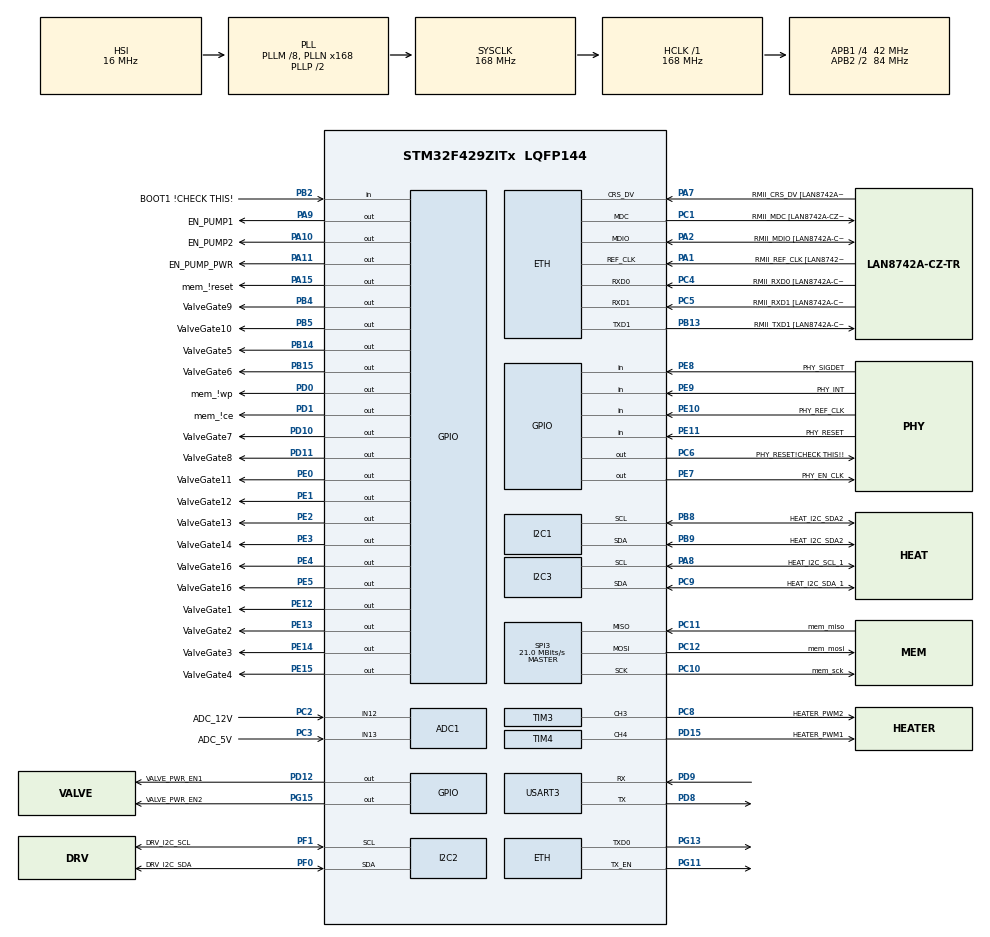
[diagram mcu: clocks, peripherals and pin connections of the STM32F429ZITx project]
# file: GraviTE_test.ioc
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ADC1.Channel-3\#ChannelRegularConversion=ADC_CHANNEL_TEMPSENSOR
ADC1.NbrOfConversionFlag=1
ADC1.Rank-3\#ChannelRegularConversion=1
ADC1.SamplingTime-3\#ChannelRegularConversion=ADC_SAMPLETIME_3CYCLES
ADC1.master=1
Dma.I2C1_RX.1.Direction=DMA_PERIPH_TO_MEMORY
Dma.I2C1_RX.1.FIFOMode=DMA_FIFOMODE_DISABLE
Dma.I2C1_RX.1.Instance=DMA1_Stream0
Dma.I2C1_RX.1.MemDataAlignment=DMA_MDATAALIGN_BYTE
Dma.I2C1_RX.1.MemInc=DMA_MINC_ENABLE
Dma.I2C1_RX.1.Mode=DMA_NORMAL
Dma.I2C1_RX.1.PeriphDataAlignment=DMA_PDATAALIGN_BYTE
Dma.I2C1_RX.1.PeriphInc=DMA_PINC_DISABLE
Dma.I2C1_RX.1.Priority=DMA_PRIORITY_LOW
Dma.I2C1_TX.0.Direction=DMA_MEMORY_TO_PERIPH
Dma.I2C1_TX.0.FIFOMode=DMA_FIFOMODE_DISABLE
Dma.I2C1_TX.0.Instance=DMA1_Stream6
Dma.I2C1_TX.0.MemDataAlignment=DMA_MDATAALIGN_BYTE
Dma.I2C1_TX.0.MemInc=DMA_MINC_ENABLE
Dma.I2C1_TX.0.Mode=DMA_NORMAL
Dma.I2C1_TX.0.PeriphDataAlignment=DMA_PDATAALIGN_BYTE
Dma.I2C1_TX.0.PeriphInc=DMA_PINC_DISABLE
Dma.I2C1_TX.0.Priority=DMA_PRIORITY_LOW
Dma.Request0=I2C1_TX
Dma.Request1=I2C1_RX
Dma.Request2=USART3_RX
Dma.USART3_RX.2.Direction=DMA_PERIPH_TO_MEMORY
Dma.USART3_RX.2.FIFOMode=DMA_FIFOMODE_DISABLE
Dma.USART3_RX.2.Instance=DMA1_Stream1
Dma.USART3_RX.2.MemDataAlignment=DMA_MDATAALIGN_BYTE
Dma.USART3_RX.2.MemInc=DMA_MINC_ENABLE
Dma.USART3_RX.2.Mode=DMA_NORMAL
Dma.USART3_RX.2.PeriphDataAlignment=DMA_PDATAALIGN_BYTE
Dma.USART3_RX.2.PeriphInc=DMA_PINC_DISABLE
Dma.USART3_RX.2.Priority=DMA_PRIORITY_LOW
ETH.MediaInterface=HAL_ETH_RMII_MODE
FREERTOS.BinarySemaphores01=I2C1_Semaphore,Static,I2C1_SemaphoreControlBlock,Available
FREERTOS.Queues01=TempQueue,16,bool,0,Dynamic,NULL,NULL;CommToActQueue,4,uint8_t,0,Dynamic,NULL,NULL;TelemetryToCommQueue,2,TELEMETRY_DATA,0,Dynamic,NULL,NULL;RxUartBuff,3,5,1,Dynamic,NULL,NULL;CommToTempQueue,2,float,0,Dynamic,NULL,NULL
FREERTOS.Tasks01=sendYAMCS,24,256,SendYAMCS,Default,NULL,Dynamic,NULL,NULL;receiveYAMCS,24,256,ReceiveYAMCS,Default,NULL,Dynamic,NULL,NULL;tempControl,24,128,TempControl,Default,NULL,Dynamic,NULL,NULL;telemetrySafety,24,128,TelemetrySafetyControl,Default,NULL,Dynamic,NULL,NULL;comm_control,24,256,CommControl,Default,NULL,Dynamic,NULL,NULL
FREERTOS.configUSE_NEWLIB_REENTRANT=1
LWIP.BSP.number=1
LWIP.GATEWAY_ADDRESS=192.168.008.001
LWIP.IP_ADDRESS=192.168.008.140
LWIP.LWIP_DHCP=0
LWIP.LWIP_DNS=1
LWIP.MEM_SIZE=10*1024
LWIP.NETMASK_ADDRESS=255.255.255.000
LWIP.Version=v2.1.2_Cube
LWIP0.BSP.STBoard=false
LWIP0.BSP.api=BSP_COMPONENT_DRIVER
LWIP0.BSP.component=LAN8742
LWIP0.BSP.instance=LAN8742
LWIP0.BSP.name=Driver_PHY
LWIP0.BSP.semaphore=S_LAN8742
LWIP0.BSP.solution=LAN8742
Mcu.Family=STM32F4
Mcu.Name=STM32F429ZITx
Mcu.Package=LQFP144
Mcu.UserConstants=CM,$$_ADC3_IP_HANDLE_$$;PT,$$_SPI1_IP_HANDLE_$$
NVIC.ADC_IRQn=true\:5\:0\:false\:false\:true\:true\:true\:true\:true
NVIC.DMA1_Stream0_IRQn=true\:5\:0\:false\:false\:true\:true\:false\:true\:true
NVIC.DMA1_Stream1_IRQn=true\:5\:0\:false\:false\:true\:true\:false\:true\:true
NVIC.DMA1_Stream6_IRQn=true\:5\:0\:false\:false\:true\:true\:false\:true\:true
NVIC.ETH_IRQn=true\:5\:0\:false\:false\:true\:true\:false\:true\:true
NVIC.I2C1_EV_IRQn=true\:5\:0\:false\:false\:true\:true\:true\:true\:true
NVIC.I2C2_EV_IRQn=true\:5\:0\:false\:false\:true\:true\:true\:true\:true
NVIC.I2C3_EV_IRQn=true\:5\:0\:false\:false\:true\:true\:true\:true\:true
NVIC.PriorityGroup=NVIC_PRIORITYGROUP_4
NVIC.TIM1_UP_TIM10_IRQn=true\:15\:0\:false\:false\:true\:false\:false\:true\:true
NVIC.TimeBase=TIM1_UP_TIM10_IRQn
NVIC.TimeBaseIP=TIM1
NVIC.USART3_IRQn=true\:5\:0\:false\:false\:true\:true\:true\:true\:true
PA1.GPIO_Label=RMII_REF_CLK [LAN8742A-CZ-TR_REFCLK0]
PA1.Mode=RMII
PA1.Signal=ETH_REF_CLK
PA10.GPIO_Label=EN_PUMP2
PA10.Signal=GPIO_Output
PA11.GPIO_Label=EN_PUMP_PWR
PA11.Signal=GPIO_Output
PA13.Mode=Serial_Wire
PA13.Signal=SYS_JTMS-SWDIO
PA14.Mode=Serial_Wire
PA14.Signal=SYS_JTCK-SWCLK
PA15.GPIO_Label=mem_\!reset
PA15.Signal=GPIO_Output
PA2.GPIO_Label=RMII_MDIO [LAN8742A-CZ-TR_MDIO]
PA2.Mode=RMII
PA2.Signal=ETH_MDIO
PA7.GPIO_Label=RMII_CRS_DV [LAN8742A-CZ-TR_CRS_DV]
PA7.Mode=RMII
PA7.Signal=ETH_CRS_DV
PA8.GPIO_Label=HEAT_I2C_SCL_1
PA8.Mode=I2C
PA8.Signal=I2C3_SCL
PA9.GPIO_Label=EN_PUMP1
PA9.Signal=GPIO_Output
PB10.Signal=ETH_RX_ER
PB13.GPIO_Label=RMII_TXD1 [LAN8742A-CZ-TR_TXD1]
PB13.Mode=RMII
PB13.Signal=ETH_TXD1
PB14.GPIO_Label=ValveGate5
PB14.Signal=GPIO_Output
PB15.GPIO_Label=ValveGate6
PB15.Signal=GPIO_Output
PB2/BOOT1.GPIO_Label=BOOT1 \!CHECK THIS\!
PB2/BOOT1.Signal=GPIO_Input
PB3.Signal=SYS_JTDO-SWO
PB4.GPIO_Label=ValveGate9
PB4.Signal=GPIO_Output
PB5.GPIO_Label=ValveGate10
PB5.Signal=GPIO_Output
PB6.GPIO_Label=ST-LINK_TX
PB6.Signal=USART1_TX
PB7.GPIO_Label=ST-LINK_RX
PB7.Signal=USART1_RX
PB8.GPIO_Label=HEAT_I2C_SDA2
PB8.Mode=I2C
PB8.Signal=I2C1_SCL
PB9.GPIO_Label=HEAT_I2C_SDA2
PB9.Mode=I2C
PB9.Signal=I2C1_SDA
PC1.GPIO_Label=RMII_MDC [LAN8742A-CZ-TR_MDC]
PC1.Mode=RMII
PC1.Signal=ETH_MDC
PC10.GPIO_Label=mem_sck
PC10.Mode=Full_Duplex_Master
PC10.Signal=SPI3_SCK
PC11.GPIO_Label=mem_miso
PC11.Mode=Full_Duplex_Master
PC11.Signal=SPI3_MISO
PC12.GPIO_Label=mem_mosi
PC12.Mode=Full_Duplex_Master
PC12.Signal=SPI3_MOSI
PC2.GPIO_Label=ADC_12V
PC2.Signal=ADCx_IN12
PC3.GPIO_Label=ADC_5V
PC3.Signal=ADCx_IN13
PC4.GPIO_Label=RMII_RXD0 [LAN8742A-CZ-TR_RXD0]
PC4.Mode=RMII
PC4.Signal=ETH_RXD0
PC5.GPIO_Label=RMII_RXD1 [LAN8742A-CZ-TR_RXD1]
PC5.Mode=RMII
PC5.Signal=ETH_RXD1
PC6.GPIO_Label=PHY_RESET\!CHECK THIS\!\!
PC6.Signal=GPIO_Output
PC8.GPIO_Label=HEATER_PWM2
PC8.Signal=S_TIM3_CH3
PC9.GPIO_Label=HEAT_I2C_SDA_1
PC9.Mode=I2C
PC9.Signal=I2C3_SDA
PD0.GPIO_Label=mem_\!wp
PD0.Signal=GPIO_Output
PD1.GPIO_Label=mem_\!ce
PD1.Signal=GPIO_Output
PD10.GPIO_Label=ValveGate7
PD10.Signal=GPIO_Output
PD11.GPIO_Label=ValveGate8
PD11.Signal=GPIO_Output
PD12.GPIO_Label=VALVE_PWR_EN1
PD12.Signal=GPIO_Output
PD15.GPIO_Label=HEATER_PWM1
PD15.Signal=S_TIM4_CH4
PD8.Mode=Asynchronous
PD8.Signal=USART3_TX
PD9.Mode=Asynchronous
PD9.Signal=USART3_RX
PE0.GPIO_Label=ValveGate11
PE0.Signal=GPIO_Output
PE1.GPIO_Label=ValveGate12
PE1.Signal=GPIO_Output
PE10.GPIO_Label=PHY_REF_CLK
PE10.Signal=GPIO_Input
PE11.GPIO_Label=PHY_RESET
PE11.Signal=GPIO_Input
PE12.GPIO_Label=ValveGate1
PE12.Signal=GPIO_Output
PE13.GPIO_Label=ValveGate2
PE13.Signal=GPIO_Output
PE14.GPIO_Label=ValveGate3
PE14.Signal=GPIO_Output
PE15.GPIO_Label=ValveGate4
PE15.Signal=GPIO_Output
PE2.GPIO_Label=ValveGate13
PE2.Signal=GPIO_Output
PE3.GPIO_Label=ValveGate14
PE3.Signal=GPIO_Output
PE4.GPIO_Label=ValveGate16
PE4.Signal=GPIO_Output
PE5.GPIO_Label=ValveGate16
PE5.Signal=GPIO_Output
PE7.GPIO_Label=PHY_EN_CLK
PE7.Signal=GPIO_Output
PE8.GPIO_Label=PHY_SIGDET
PE8.Signal=GPIO_Input
PE9.GPIO_Label=PHY_INT
PE9.Signal=GPIO_Input
PF0.GPIO_Label=DRV_I2C_SDA
PF0.Mode=I2C
PF0.Signal=I2C2_SDA
PF1.GPIO_Label=DRV_I2C_SCL
PF1.Mode=I2C
PF1.Signal=I2C2_SCL
PG11.Mode=RMII
PG11.Signal=ETH_TX_EN
PG13.Mode=RMII
PG13.Signal=ETH_TXD0
PG15.GPIO_Label=VALVE_PWR_EN2
PG15.Signal=GPIO_Output
PH0/OSC_IN.Mode=HSE-External-Oscillator
PH0/OSC_IN.Signal=RCC_OSC_IN
PH1/OSC_OUT.Mode=HSE-External-Oscillator
PH1/OSC_OUT.Signal=RCC_OSC_OUT
ProjectManager.HeapSize=0x200
ProjectManager.StackSize=0x400
ProjectManager.TargetToolchain=STM32CubeIDE
RCC.48MHZClocksFreq_Value=48000000
RCC.AHBFreq_Value=168000000
RCC.APB1CLKDivider=RCC_HCLK_DIV4
RCC.APB1Freq_Value=42000000
RCC.APB1TimFreq_Value=84000000
RCC.APB2CLKDivider=RCC_HCLK_DIV2
RCC.APB2Freq_Value=84000000
RCC.APB2TimCLKDivider=2
RCC.APB2TimFreq_Value=168000000
RCC.CortexFreq_Value=168000000
RCC.HCLKFreq_Value=168000000
RCC.HSE_VALUE=8000000
RCC.HSI_VALUE=16000000
RCC.LSE_VALUE=32768
RCC.PLLM=8
RCC.PLLMUL=RCC_PLL_MUL9
RCC.PLLN=168
RCC.PLLQ=7
RCC.PRESCALERUSB=RCC_USBCLKSOURCE_PLL_DIV1_5
RCC.SYSCLKFreq_VALUE=168000000
RCC.SYSCLKSource=RCC_SYSCLKSOURCE_PLLCLK
RCC.SYSCLKSourceVirtual=RCC_SYSCLKSOURCE_PLLCLK
RCC.USBFreq_Value=48000000
RCC.VCOOutputFreq_Value=336000000
SH.ADCx_IN12.0=ADC1_IN12,IN12
SH.ADCx_IN13.0=ADC1_IN13,IN13
SH.S_TIM3_CH3.0=TIM3_CH3,PWM Generation3 CH3
SH.S_TIM4_CH4.0=TIM4_CH4,PWM Generation4 CH4
SPI3.CalculateBaudRate=21.0 MBits/s
SPI3.Direction=SPI_DIRECTION_2LINES
SPI3.Mode=SPI_MODE_MASTER
SPI3.VirtualType=VM_MASTER
TIM3.Channel-PWM\ Generation3\ CH3=TIM_CHANNEL_3
TIM4.Channel-PWM\ Generation4\ CH4=TIM_CHANNEL_4
USART3.VirtualMode=VM_ASYNC
VP_ADC1_TempSens_Input.Mode=IN-TempSens
VP_FREERTOS_VS_CMSIS_V2.Mode=CMSIS_V2
VP_LWIP_VS_Enabled.Mode=Enabled
VP_SYS_VS_tim1.Mode=TIM1
board=NUCLEO-F429ZI

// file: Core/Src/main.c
/* USER CODE BEGIN Header */
/**
  ******************************************************************************
  * @file           : main.c
  * @brief          : Main program body
  ******************************************************************************
  * @attention
  *
  * Copyright (c) 2024 STMicroelectronics.
  * All rights reserved.
  *
  * This software is licensed under terms that can be found in the LICENSE file
  * in the root directory of this software component.
  * If no LICENSE file comes with this software, it is provided AS-IS.
  *
  ******************************************************************************
  */
/* USER CODE END Header */
#include "main.h"
#include "cmsis_os.h"
#include "adc.h"
#include "dma.h"
#include "i2c.h"
#include "lwip.h"
#include "spi.h"
#include "tim.h"
#include "usart.h"
#include "gpio.h"

void SystemClock_Config(void);
void MX_FREERTOS_Init(void);

int main(void)
{

  /* MCU Configuration--------------------------------------------------------*/

  /* Reset of all peripherals, Initializes the Flash interface and the Systick. */
  HAL_Init();

  /* Configure the system clock */
  SystemClock_Config();

  /* Initialize all configured peripherals */
  MX_GPIO_Init();
  MX_DMA_Init();
  MX_ADC1_Init();
  MX_TIM4_Init();
  MX_SPI3_Init();
  MX_I2C1_Init();
  MX_I2C2_Init();
  MX_I2C3_Init();
  MX_TIM3_Init();
  MX_USART3_UART_Init();

  /* Init scheduler */
  osKernelInitialize();

  /* Call init function for freertos objects (in cmsis_os2.c) */
  MX_FREERTOS_Init();

  /* Start scheduler */
  osKernelStart();

  /* We should never get here as control is now taken by the scheduler */

  /* Infinite loop */
  while (1)
  {

  }
}

void SystemClock_Config(void)
{
  RCC_OscInitTypeDef RCC_OscInitStruct = {0};
  RCC_ClkInitTypeDef RCC_ClkInitStruct = {0};

  /** Configure the main internal regulator output voltage
  */
  __HAL_RCC_PWR_CLK_ENABLE();
  __HAL_PWR_VOLTAGESCALING_CONFIG(PWR_REGULATOR_VOLTAGE_SCALE1);

  /** Initializes the RCC Oscillators according to the specified parameters
  * in the RCC_OscInitTypeDef structure.
  */
  RCC_OscInitStruct.OscillatorType = RCC_OSCILLATORTYPE_HSI;
  RCC_OscInitStruct.HSIState = RCC_HSI_ON;
  RCC_OscInitStruct.HSICalibrationValue = RCC_HSICALIBRATION_DEFAULT;
  RCC_OscInitStruct.PLL.PLLState = RCC_PLL_ON;
  RCC_OscInitStruct.PLL.PLLSource = RCC_PLLSOURCE_HSI;
  RCC_OscInitStruct.PLL.PLLM = 8;
  RCC_OscInitStruct.PLL.PLLN = 168;
  RCC_OscInitStruct.PLL.PLLP = RCC_PLLP_DIV2;
  RCC_OscInitStruct.PLL.PLLQ = 7;
  if (HAL_RCC_OscConfig(&RCC_OscInitStruct) != HAL_OK)
  {
    Error_Handler();
  }

  /** Initializes the CPU, AHB and APB buses clocks
  */
  RCC_ClkInitStruct.ClockType = RCC_CLOCKTYPE_HCLK|RCC_CLOCKTYPE_SYSCLK
                              |RCC_CLOCKTYPE_PCLK1|RCC_CLOCKTYPE_PCLK2;
  RCC_ClkInitStruct.SYSCLKSource = RCC_SYSCLKSOURCE_PLLCLK;
  RCC_ClkInitStruct.AHBCLKDivider = RCC_SYSCLK_DIV1;
  RCC_ClkInitStruct.APB1CLKDivider = RCC_HCLK_DIV4;
  RCC_ClkInitStruct.APB2CLKDivider = RCC_HCLK_DIV2;

  if (HAL_RCC_ClockConfig(&RCC_ClkInitStruct, FLASH_LATENCY_5) != HAL_OK)
  {
    Error_Handler();
  }
}

/* USER CODE BEGIN 4 */

int __io_putchar(int ch)
{
  HAL_UART_Transmit(&huart3, (uint8_t *)&ch, 1, HAL_MAX_DELAY);
  return ch;
}

/* USER CODE END 4 */

void HAL_TIM_PeriodElapsedCallback(TIM_HandleTypeDef *htim)
{
  if (htim->Instance == TIM1) {
    HAL_IncTick();
  }
}

void Error_Handler(void)
{
  __disable_irq();
  while (1)
  {
  }
}

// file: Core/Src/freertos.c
/* USER CODE BEGIN Header */
/**
  ******************************************************************************
  * File Name          : freertos.c
  * Description        : Code for freertos applications
  ******************************************************************************
  * @attention
  *
  * Copyright (c) 2024 STMicroelectronics.
  * All rights reserved.
  *
  * This software is licensed under terms that can be found in the LICENSE file
  * in the root directory of this software component.
  * If no LICENSE file comes with this software, it is provided AS-IS.
  *
  ******************************************************************************
  */
/* USER CODE END Header */

#include "FreeRTOS.h"
#include "task.h"
#include "main.h"
#include "cmsis_os.h"

/* USER CODE BEGIN Includes */
#include "lwip/sockets.h"
#include "lwip/inet.h"
#include "mcp.h"
#include <stdbool.h>
#include "i2c.h"
#include <stdio.h>
#include "usart.h"
#include "dma.h"

/* USER CODE END Includes */

typedef StaticSemaphore_t osStaticSemaphoreDef_t;
/* USER CODE BEGIN PTD */

#define TM_PORT 10015 //TM - sending
#define TC_PORT 10025 //TC- receiving
#define TM_PACKET_SIZE 40

extern DMA_HandleTypeDef hdma_usart3_rx;

typedef struct {

	uint8_t incubationStage;
	float heater1Temp;
	float heater2Temp;
	float valveDriver1Current;
	float valveDriver2Current;
	uint8_t valve1_8;
	uint8_t valve9_16;
	bool pump1;
	bool pump2;
	float uptime;
	uint8_t resetCounter;
	float  supplyVoltage12;
	float supplyVoltage5;

} __attribute__((packed)) TELEMETRY_DATA;

typedef struct {
    int tm_counter;
    int tc_counter;
    uint8_t last_tc[TM_PACKET_SIZE];
    osThreadId tm_thread;
    osThreadId tc_thread;
} YAMCS;

/* USER CODE END PTD */

/* USER CODE BEGIN Variables */
TELEMETRY_DATA rx_tele;
bool udp_yamcs_enabled;
YAMCS yamcs = {0};
uint8_t rx_uart_buffer[15];
MCP9808 tempSensor;

/* USER CODE END Variables */
/* Definitions for sendYAMCS */
osThreadId_t sendYAMCSHandle;
const osThreadAttr_t sendYAMCS_attributes = {
  .name = "sendYAMCS",
  .stack_size = 256 * 4,
  .priority = (osPriority_t) osPriorityNormal,
};
/* Definitions for receiveYAMCS */
osThreadId_t receiveYAMCSHandle;
const osThreadAttr_t receiveYAMCS_attributes = {
  .name = "receiveYAMCS",
  .stack_size = 256 * 4,
  .priority = (osPriority_t) osPriorityNormal,
};
/* Definitions for tempControl */
osThreadId_t tempControlHandle;
const osThreadAttr_t tempControl_attributes = {
  .name = "tempControl",
  .stack_size = 128 * 4,
  .priority = (osPriority_t) osPriorityNormal,
};
/* Definitions for telemetrySafety */
osThreadId_t telemetrySafetyHandle;
const osThreadAttr_t telemetrySafety_attributes = {
  .name = "telemetrySafety",
  .stack_size = 128 * 4,
  .priority = (osPriority_t) osPriorityNormal,
};
/* Definitions for comm_control */
osThreadId_t comm_controlHandle;
const osThreadAttr_t comm_control_attributes = {
  .name = "comm_control",
  .stack_size = 256 * 4,
  .priority = (osPriority_t) osPriorityNormal,
};
/* Definitions for TempQueue */
osMessageQueueId_t TempQueueHandle;
const osMessageQueueAttr_t TempQueue_attributes = {
  .name = "TempQueue"
};
/* Definitions for CommToActQueue */
osMessageQueueId_t CommToActQueueHandle;
const osMessageQueueAttr_t CommToActQueue_attributes = {
  .name = "CommToActQueue"
};
/* Definitions for TelemetryToCommQueue */
osMessageQueueId_t TelemetryToCommQueueHandle;
const osMessageQueueAttr_t TelemetryToCommQueue_attributes = {
  .name = "TelemetryToCommQueue"
};
/* Definitions for RxUartBuff */
osMessageQueueId_t RxUartBuffHandle;
const osMessageQueueAttr_t RxUartBuff_attributes = {
  .name = "RxUartBuff"
};
/* Definitions for CommToTempQueue */
osMessageQueueId_t CommToTempQueueHandle;
const osMessageQueueAttr_t CommToTempQueue_attributes = {
  .name = "CommToTempQueue"
};
/* Definitions for I2C1_Semaphore */
osSemaphoreId_t I2C1_SemaphoreHandle;
osStaticSemaphoreDef_t I2C1_SemaphoreControlBlock;
const osSemaphoreAttr_t I2C1_Semaphore_attributes = {
  .name = "I2C1_Semaphore",
  .cb_mem = &I2C1_SemaphoreControlBlock,
  .cb_size = sizeof(I2C1_SemaphoreControlBlock),
};

/* USER CODE BEGIN FunctionPrototypes */
int actCommandConversion(char command[4], uint8_t *result);
int tempCommandConversion(char temp[4],float *result);
/* USER CODE END FunctionPrototypes */

void SendYAMCS(void *argument);
void ReceiveYAMCS(void *argument);
void TempControl(void *argument);
void TelemetrySafetyControl(void *argument);
void CommControl(void *argument);

extern void MX_LWIP_Init(void);
void MX_FREERTOS_Init(void); /* (MISRA C 2004 rule 8.1) */

void MX_FREERTOS_Init(void) {

  /* Create the semaphores(s) */
  /* creation of I2C1_Semaphore */
  I2C1_SemaphoreHandle = osSemaphoreNew(1, 1, &I2C1_Semaphore_attributes);

  /* Create the queue(s) */
  /* creation of TempQueue */
  TempQueueHandle = osMessageQueueNew (16, sizeof(bool), &TempQueue_attributes);

  /* creation of CommToActQueue */
  CommToActQueueHandle = osMessageQueueNew (4, sizeof(uint8_t), &CommToActQueue_attributes);

  /* creation of TelemetryToCommQueue */
  TelemetryToCommQueueHandle = osMessageQueueNew (2, sizeof(TELEMETRY_DATA), &TelemetryToCommQueue_attributes);

  /* creation of RxUartBuff */
  RxUartBuffHandle = osMessageQueueNew (3, 5, &RxUartBuff_attributes);

  /* creation of CommToTempQueue */
  CommToTempQueueHandle = osMessageQueueNew (2, sizeof(float), &CommToTempQueue_attributes);

  /* Create the thread(s) */
  /* creation of sendYAMCS */
  sendYAMCSHandle = osThreadNew(SendYAMCS, NULL, &sendYAMCS_attributes);

  /* creation of receiveYAMCS */
  receiveYAMCSHandle = osThreadNew(ReceiveYAMCS, NULL, &receiveYAMCS_attributes);

  /* creation of tempControl */
  tempControlHandle = osThreadNew(TempControl, NULL, &tempControl_attributes);

  /* creation of telemetrySafety */
  telemetrySafetyHandle = osThreadNew(TelemetrySafetyControl, NULL, &telemetrySafety_attributes);

  /* creation of comm_control */
  comm_controlHandle = osThreadNew(CommControl, NULL, &comm_control_attributes);

}

void SendYAMCS(void *argument)
{
  /* init code for LWIP */
  MX_LWIP_Init();
  /* USER CODE BEGIN SendYAMCS */

	int sock;
	struct sockaddr_in dest_addr;

	//tworzenie socketu
	sock = socket(AF_INET, SOCK_DGRAM, IPPROTO_UDP);
	if (sock < 0) {
		printf("Failed to create socket\n");
		return;
	}

	//konfiguracja adresu do ktorego wysylamy
	memset(&dest_addr, 0, sizeof(dest_addr));
	dest_addr.sin_family = AF_INET;
	dest_addr.sin_port = htons(TM_PORT);
	dest_addr.sin_addr.s_addr = inet_addr("192.168.8.101");

  /* Infinite loop */
  for(;;)
  {
	  	if (udp_yamcs_enabled == true){  //

	  		uint8_t packet[TM_PACKET_SIZE];

	  		//example CCSDS header (only for tests)
	  		uint8_t header[6] = {0x39, 0xA5, 0xC0, 0x00, 0x00, 0x0A};

	  		memcpy(packet, header, 6);
	  		memcpy(packet + 6, &rx_tele, sizeof(TELEMETRY_DATA));

	  		if (sendto(sock, packet, sizeof(packet), 0, (struct sockaddr *)&dest_addr, sizeof(dest_addr)) < 0) {
	  			printf("Failed to send packet\n");
	  		}
	  		udp_yamcs_enabled = false;
	  	}
	    osDelay(500);
  }
  /* USER CODE END SendYAMCS */
}

void ReceiveYAMCS(void *argument)
{
  for(;;)
  {
  }
}

void TempControl(void *argument)
{
  /* USER CODE BEGIN TempControl */
  MCP9808_Init(&tempSensor, 0x00, &hi2c1, I2C1_SemaphoreHandle);
  MCP9808_Configure(&tempSensor, MCP9808_HYST_1_5, MCP9808_RESOLUTION_0_0625, 40, MCP9808_tSIGN_POSITIVE);
  MCP9808_Enable(&tempSensor);
  /* Infinite loop */
  for(;;)
  {
    MCP9808_GetTemperature(&tempSensor);
    printf("Test temperature: %.2f\n", tempSensor.tAmbient);
    osDelay(1000);
  }
  /* USER CODE END TempControl */
}

void TelemetrySafetyControl(void *argument)
{
  /* USER CODE BEGIN TelemetrySafetyControl */
  /* Infinite loop */
  TELEMETRY_DATA dataToSend;
  for(;;)
  {
    //zbieranie danych telemetrycznych (na razie wpisane na sztywno)
	  dataToSend.heater1Temp = 12.12;
	  dataToSend.heater2Temp = 30.8;
	  dataToSend.incubationStage = 2;
	  dataToSend.pump1 = 1;
	  dataToSend.pump2 = 0;
	  dataToSend.resetCounter = 1;
	  dataToSend.supplyVoltage12 = 11.98;
	  dataToSend.supplyVoltage5 = 4.95;
	  dataToSend.valve1_8 = 0b01110110;
	  dataToSend.valve9_16 = 0b10100110;
	  dataToSend.valveDriver1Current = 2.345;
	  dataToSend.valveDriver2Current = 3.234;
	  dataToSend.uptime = 40.88;

	  //wysylanie danych bufora
	  osMessageQueuePut(TelemetryToCommQueueHandle, &dataToSend, 0, 0);

    osDelay(4000);
  }
  /* USER CODE END TelemetrySafetyControl */
}

void CommControl(void *argument)
{
  /* USER CODE BEGIN CommControl */

  HAL_UARTEx_ReceiveToIdle_DMA(&huart3, (uint8_t*)rx_uart_buffer, sizeof(rx_uart_buffer));
  __HAL_DMA_DISABLE_IT(&hdma_usart3_rx, DMA_IT_HT);

  char rx_buff[5];
  uint8_t act_data;
  float temp_data;

  //buffor do wysyłania telemtrii przez UART
  char tx_buff[100];

  /* Infinite loop */
  for(;;)
  {
     //odbiór danych UART - sprawdzamy kolejke czy przyszly jakies dane
	  osStatus_t queue_status_1 = osMessageQueueGet(RxUartBuffHandle, &rx_buff, NULL, 0);
	  if (queue_status_1 == osOK){
		  char rx_command_type = rx_buff[0];
		  char actual_data[4];
		  memcpy(actual_data, rx_buff + 1, 4);

		  switch (rx_command_type){

		  	  //wysyłamy dane do act_control
		  	  case '1':
		  		  if (actCommandConversion(rx_buff, &act_data) == 1){
		  			  osMessageQueuePut(CommToActQueueHandle, &act_data, 0, 0);
		  		  }
		  		  break;

		  	  //wysyłamy dane do temp_control
		  	  case '2':
		  		  tempCommandConversion(rx_buff, &temp_data);
		  		  osMessageQueuePut(CommToTempQueueHandle, &temp_data, 0, 0);
		  		  break;
		  }
	  }

	//odbieramy dane telemetryczne
	osStatus_t queue_status_2 = osMessageQueueGet(TelemetryToCommQueueHandle, &rx_tele, NULL, 0);
	if (queue_status_2 == osOK){
		udp_yamcs_enabled = true;
		//obsługa danych z kolekji oraz zamiana na odpowiedni format
		int len = sprintf(tx_buff, "incub: %d\nheat1: %.2f\nheat2: %.2f\npump1: %d\npump2: %d\n", rx_tele.incubationStage, // @suppress("Float formatting support")
				rx_tele.heater1Temp, rx_tele.heater2Temp, (uint8_t)rx_tele.pump1, (uint8_t)rx_tele.pump2);

		//WYSYŁAMY DANE PRZEZ UART
		if (HAL_UART_Transmit(&huart3, (uint8_t*)tx_buff, len, HAL_MAX_DELAY) != HAL_OK)
		    {
		        printf("Uart transmit error");
		    }

	}
	osDelay(100);

  }
  /* USER CODE END CommControl */
}

/* USER CODE BEGIN Application */

void HAL_UARTEx_RxEventCallback(UART_HandleTypeDef *huart, uint16_t Size){

	if (huart->Instance == USART3){

		if (Size % 5 == 0){
			uint8_t command[5];
			for (int i = 0; i < Size; i++){
				command[i%5] = rx_uart_buffer[i];
				if (i%5 == 4){
					osMessageQueuePut(RxUartBuffHandle, command ,0,0);
				}
			}
		}

		HAL_UARTEx_ReceiveToIdle_DMA(&huart3, (uint8_t*)rx_uart_buffer, sizeof(rx_uart_buffer));
		  __HAL_DMA_DISABLE_IT(&hdma_usart3_rx, DMA_IT_HT);
	}
}

int actCommandConversion(char command[4], uint8_t *result){
	*result = 0b00000000;
	switch (command[0])
	{
		case 'v':
			break;
		case 'p':
			*result |= (0b00000001 << 6);
			break;
		case 's':
			*result |= (0b00000001 << 7);
			break;
		case 'f':
			*result |= (0b00000011 << 6);
			break;
		default:
			printf("command conversion error");
			return 0;
	}

	switch (command[1])
	{
		case '0':
			break;
		case '1':
			*result |= (0b00000001 << 5);
			break;
		default:
			printf("command conversion error");
			return 0;
	}

	uint8_t addres = (command[2]-'0')*10 + command[3]-'0';
	if (addres > 31){
		printf("command conversion error");
		return 0;

	}
	else{
		*result |= addres;
		return 1;
	}
}

int tempCommandConversion(char temp[4],float *result) {

    *result = 10*(temp[0]-'0');
    *result += temp[1]-'0';
    *result += 0.1*(temp[2]-'0');
    *result += 0.01*(temp[3]-'0');
    return 1;
}

void HAL_I2C_MemRxCpltCallback(I2C_HandleTypeDef *hi2c) {
  if (hi2c->Instance == I2C1) {
    osSemaphoreRelease(I2C1_SemaphoreHandle);
  }
}

void HAL_I2C_MemTxCpltCallback(I2C_HandleTypeDef *hi2c) {
  if (hi2c->Instance == I2C1) {
    osSemaphoreRelease(I2C1_SemaphoreHandle);
  }
}
/* USER CODE END Application */
